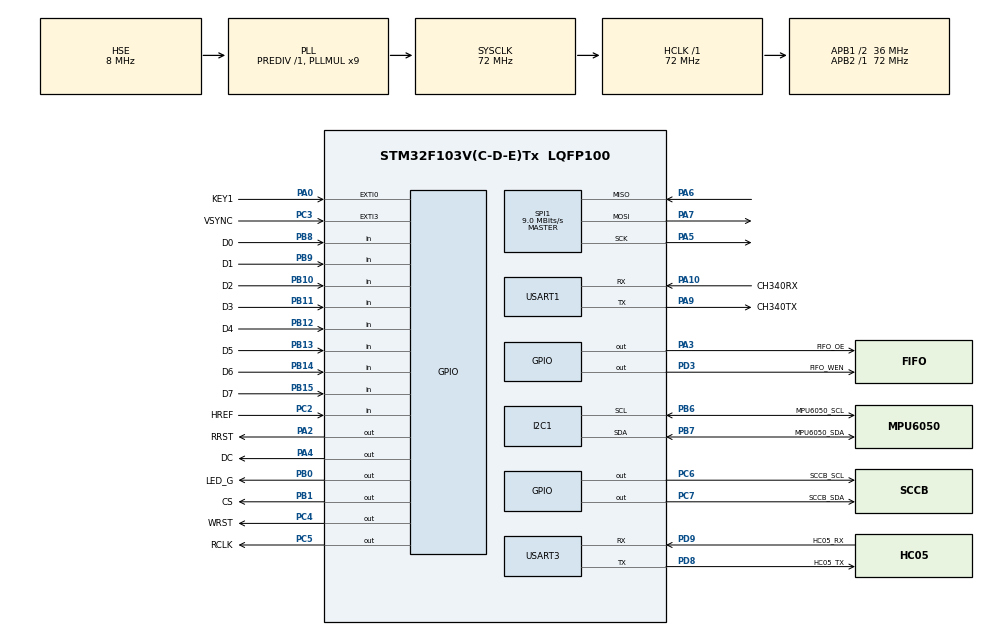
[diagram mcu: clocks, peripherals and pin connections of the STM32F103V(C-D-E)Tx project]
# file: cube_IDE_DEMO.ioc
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Dma.Request0=SPI1_TX
Dma.SPI1_TX.0.Direction=DMA_MEMORY_TO_PERIPH
Dma.SPI1_TX.0.Instance=DMA1_Channel3
Dma.SPI1_TX.0.MemDataAlignment=DMA_MDATAALIGN_BYTE
Dma.SPI1_TX.0.MemInc=DMA_MINC_ENABLE
Dma.SPI1_TX.0.Mode=DMA_NORMAL
Dma.SPI1_TX.0.PeriphDataAlignment=DMA_PDATAALIGN_BYTE
Dma.SPI1_TX.0.PeriphInc=DMA_PINC_DISABLE
Dma.SPI1_TX.0.Priority=DMA_PRIORITY_LOW
Mcu.Family=STM32F1
Mcu.Name=STM32F103V(C-D-E)Tx
Mcu.Package=LQFP100
NVIC.DMA1_Channel3_IRQn=true\:0\:0\:false\:false\:true\:false\:true\:true
NVIC.EXTI0_IRQn=true\:0\:0\:false\:false\:true\:true\:true\:true
NVIC.EXTI3_IRQn=true\:3\:0\:true\:false\:true\:true\:true\:true
NVIC.PriorityGroup=NVIC_PRIORITYGROUP_4
NVIC.USART1_IRQn=true\:1\:0\:true\:false\:true\:true\:true\:true
NVIC.USART3_IRQn=true\:0\:0\:false\:false\:true\:true\:true\:true
OSC_IN.Mode=HSE-External-Oscillator
OSC_IN.Signal=RCC_OSC_IN
OSC_OUT.Mode=HSE-External-Oscillator
OSC_OUT.Signal=RCC_OSC_OUT
PA0-WKUP.GPIO_Label=KEY1
PA0-WKUP.GPIO_ModeDefaultEXTI=GPIO_MODE_IT_RISING
PA0-WKUP.Signal=GPXTI0
PA10.GPIO_Label=CH340RX
PA10.Mode=Asynchronous
PA10.Signal=USART1_RX
PA13.Mode=JTAG_4_pins
PA13.Signal=SYS_JTMS-SWDIO
PA14.Mode=JTAG_4_pins
PA14.Signal=SYS_JTCK-SWCLK
PA15.Mode=JTAG_4_pins
PA15.Signal=SYS_JTDI
PA2.GPIO_Label=RRST
PA2.Signal=GPIO_Output
PA3.GPIO_Label=FIFO_OE
PA3.GPIO_ModeDefaultOutputPP=GPIO_MODE_OUTPUT_PP
PA3.Signal=GPIO_Output
PA4.GPIO_Label=DC
PA4.Signal=GPIO_Output
PA5.Mode=Full_Duplex_Master
PA5.Signal=SPI1_SCK
PA6.Mode=Full_Duplex_Master
PA6.Signal=SPI1_MISO
PA7.Mode=Full_Duplex_Master
PA7.Signal=SPI1_MOSI
PA9.GPIO_Label=CH340TX
PA9.Mode=Asynchronous
PA9.Signal=USART1_TX
PB0.GPIO_Label=LED_G
PB0.GPIO_Speed=GPIO_SPEED_FREQ_LOW
PB0.Signal=GPIO_Output
PB1.GPIO_Label=CS
PB1.Signal=GPIO_Output
PB10.GPIO_Label=D2
PB10.Signal=GPIO_Input
PB11.GPIO_Label=D3
PB11.Signal=GPIO_Input
PB12.GPIO_Label=D4
PB12.Signal=GPIO_Input
PB13.GPIO_Label=D5
PB13.Signal=GPIO_Input
PB14.GPIO_Label=D6
PB14.Signal=GPIO_Input
PB15.GPIO_Label=D7
PB15.Signal=GPIO_Input
PB3.Mode=JTAG_4_pins
PB3.Signal=SYS_JTDO-TRACESWO
PB6.GPIO_Label=MPU6050_SCL
PB6.Mode=I2C
PB6.Signal=I2C1_SCL
PB7.GPIO_Label=MPU6050_SDA
PB7.Mode=I2C
PB7.Signal=I2C1_SDA
PB8.GPIO_Label=D0
PB8.Signal=GPIO_Input
PB9.GPIO_Label=D1
PB9.Signal=GPIO_Input
PC2.GPIO_Label=HREF
PC2.Signal=GPIO_Input
PC3.GPIO_Label=VSYNC
PC3.GPIO_ModeDefaultEXTI=GPIO_MODE_IT_FALLING
PC3.GPIO_PuPd=GPIO_PULLDOWN
PC3.Signal=GPXTI3
PC4.GPIO_Label=WRST
PC4.Signal=GPIO_Output
PC5.GPIO_Label=RCLK
PC5.Signal=GPIO_Output
PC6.GPIO_Label=SCCB_SCL
PC6.GPIO_ModeDefaultOutputPP=GPIO_MODE_OUTPUT_OD
PC6.GPIO_PuPd=GPIO_NOPULL
PC6.Signal=GPIO_Output
PC7.GPIO_Label=SCCB_SDA
PC7.GPIO_ModeDefaultOutputPP=GPIO_MODE_OUTPUT_OD
PC7.GPIO_PuPd=GPIO_NOPULL
PC7.Signal=GPIO_Output
PD3.GPIO_Label=FIFO_WEN
PD3.Signal=GPIO_Output
PD8.GPIO_Label=HC05_TX
PD8.Mode=Asynchronous
PD8.Signal=USART3_TX
PD9.GPIO_Label=HC05_RX
PD9.Mode=Asynchronous
PD9.Signal=USART3_RX
ProjectManager.HeapSize=0x200
ProjectManager.StackSize=0x400
ProjectManager.TargetToolchain=STM32CubeIDE
RCC.AHBFreq_Value=72000000
RCC.APB1CLKDivider=RCC_HCLK_DIV2
RCC.APB1Freq_Value=36000000
RCC.APB1TimFreq_Value=72000000
RCC.APB2Freq_Value=72000000
RCC.APB2TimFreq_Value=72000000
RCC.HCLKFreq_Value=72000000
RCC.PLLMUL=RCC_PLL_MUL9
RCC.PLLSourceVirtual=RCC_PLLSOURCE_HSE
RCC.SYSCLKFreq_VALUE=72000000
RCC.SYSCLKSource=RCC_SYSCLKSOURCE_PLLCLK
RCC.USBFreq_Value=72000000
SPI1.BaudRatePrescaler=SPI_BAUDRATEPRESCALER_8
SPI1.CLKPhase=SPI_PHASE_1EDGE
SPI1.CLKPolarity=SPI_POLARITY_LOW
SPI1.CalculateBaudRate=9.0 MBits/s
SPI1.Direction=SPI_DIRECTION_2LINES
SPI1.Mode=SPI_MODE_MASTER
SPI1.VirtualType=VM_MASTER
USART1.VirtualMode=VM_ASYNC
USART3.VirtualMode=VM_ASYNC
board=custom

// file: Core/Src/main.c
/* USER CODE BEGIN Header */
/**
  ******************************************************************************
  * @file           : main.c
  * @brief          : Main program body
  ******************************************************************************
  * @attention
  *
  * Copyright (c) 2024 STMicroelectronics.
  * All rights reserved.
  *
  * This software is licensed under terms that can be found in the LICENSE file
  * in the root directory of this software component.
  * If no LICENSE file comes with this software, it is provided AS-IS.
  *
  ******************************************************************************
  */
/* USER CODE END Header */
#include "main.h"
#include "dma.h"
#include "i2c.h"
#include "spi.h"
#include "usart.h"
#include "gpio.h"

/* USER CODE BEGIN Includes */
#include "stdio.h"
#include "oled.h"
#include "bsp_ov7725.h"

/* USER CODE END Includes */

/* USER CODE BEGIN PV */
uint8_t Ov7725_vsync = OV7725_RC_idle;
volatile uint8_t frame_count = 0;
uint16_t delay_count=0;
unsigned char oled_page = 0;
uint8_t oled_mode;
char buffer[50];
extern unsigned char BMP1[];
extern unsigned char Mario_60[];
extern unsigned char Mario_120[];
extern unsigned char F8X16[][16];
extern unsigned char F6x8[][6];
/* USER CODE END PV */

void SystemClock_Config(void);

/* USER CODE BEGIN 0 */
//  void HAL_GPIO_EXTI_Callback(uint16_t GPIO_Pin)
//  {
//      HAL_GPIO_TogglePin(GPIOB, GPIO_Pin);
//  }
/* USER CODE END 0 */

int main(void)
{

  /* USER CODE BEGIN 1 */

	uint8_t retry = 0;

  /* USER CODE END 1 */

  /* MCU Configuration--------------------------------------------------------*/

  /* Reset of all peripherals, Initializes the Flash interface and the Systick. */
  HAL_Init();

  /* Configure the system clock */
  SystemClock_Config();

  /* Initialize all configured peripherals */
  MX_GPIO_Init();
  MX_DMA_Init();
  MX_USART1_UART_Init();
  MX_SPI1_Init();
  MX_I2C1_Init();
  MX_USART3_UART_Init();
  /* USER CODE BEGIN 2 */
  FIFO_OE_L();
  FIFO_WE_H();

  OLED_Init();
  send_debug_info("oled_init done!");
  OLED_Fill(0x00);

  while(OV7725_Init() != SUCCESS)
	{
		retry++;
		if(retry>5)
		{
			send_debug_info("ov7725 init failed");
			while(1);
		}
	}
  send_debug_info("ov init success");

  OV7725_Window_Set(ov7725.X_Start,ov7725.Y_Start,ov7725.Width,ov7725.Height,ov7725.VGA_QVGA);
  Ov7725_vsync = 0;

  /* USER CODE END 2 */

  /* Infinite loop */
  /* USER CODE BEGIN WHILE */
   while (1)
   {

			if( Ov7725_vsync == OV7725_RC_done )
			{

				frame_count++;
				FIFO_PREPARE;
				Img_Read(Img);
				Img_Process(Img, Img1);
				OLED_Print_pixel_Image(Img1,64,128);

				Ov7725_vsync = OV7725_RC_idle;
			}
   }
    /* USER CODE END WHILE */

    /* USER CODE BEGIN 3 */
  // }
  /* USER CODE END 3 */
}

void SystemClock_Config(void)
{
  RCC_OscInitTypeDef RCC_OscInitStruct = {0};
  RCC_ClkInitTypeDef RCC_ClkInitStruct = {0};

  /** Initializes the RCC Oscillators according to the specified parameters
  * in the RCC_OscInitTypeDef structure.
  */
  RCC_OscInitStruct.OscillatorType = RCC_OSCILLATORTYPE_HSE;
  RCC_OscInitStruct.HSEState = RCC_HSE_ON;
  RCC_OscInitStruct.HSEPredivValue = RCC_HSE_PREDIV_DIV1;
  RCC_OscInitStruct.HSIState = RCC_HSI_ON;
  RCC_OscInitStruct.PLL.PLLState = RCC_PLL_ON;
  RCC_OscInitStruct.PLL.PLLSource = RCC_PLLSOURCE_HSE;
  RCC_OscInitStruct.PLL.PLLMUL = RCC_PLL_MUL9;
  if (HAL_RCC_OscConfig(&RCC_OscInitStruct) != HAL_OK)
  {
    Error_Handler();
  }

  /** Initializes the CPU, AHB and APB buses clocks
  */
  RCC_ClkInitStruct.ClockType = RCC_CLOCKTYPE_HCLK|RCC_CLOCKTYPE_SYSCLK
                              |RCC_CLOCKTYPE_PCLK1|RCC_CLOCKTYPE_PCLK2;
  RCC_ClkInitStruct.SYSCLKSource = RCC_SYSCLKSOURCE_PLLCLK;
  RCC_ClkInitStruct.AHBCLKDivider = RCC_SYSCLK_DIV1;
  RCC_ClkInitStruct.APB1CLKDivider = RCC_HCLK_DIV2;
  RCC_ClkInitStruct.APB2CLKDivider = RCC_HCLK_DIV1;

  if (HAL_RCC_ClockConfig(&RCC_ClkInitStruct, FLASH_LATENCY_2) != HAL_OK)
  {
    Error_Handler();
  }
}

/* USER CODE BEGIN 4 */
void Delay(uint32_t count)
{
	for(int i = 0;i < count; i++);
}

void Delay_tick(uint32_t ms)
{
    uint32_t start;

    start = uwTick; //log the start value of systick

    while(uwTick - start <ms) //wait until  x ms
    {

    }
}

void HAL_GPIO_EXTI_Callback(uint16_t GPIO_Pin)
{
  if(GPIO_Pin ==KEY1_Pin)
  {
    oled_page++;
    oled_mode = oled_page % 3;
    if (oled_mode == 1)
    {
      OLED_Fill(0x00);
      Draw_BMP(60, 0, 60, 80, (unsigned char *)Mario_60);
      OLED_Showchar(0, 0, 'K', Size_F8x16);
    }
    else if (oled_mode == 2)
    {
      OLED_Fill(0x00);
      Draw_BMP(0, 0, 120, 80, (unsigned char *)Mario_120);
    }
    else
    {
      OLED_Fill(0x00);
      OLED_Showchar(0, 0, 'L', Size_F8x16);
    }
  }
  else if(GPIO_Pin ==VSYNC_Pin)
  {

    if (Ov7725_vsync == OV7725_RC_idle)
    {
      FIFO_WRST_L(); //reset the fifo write pointer
      FIFO_WE_H();   //enable ov7725  transfer img to fifo

      Ov7725_vsync = OV7725_RC_busy;
      FIFO_WRST_H(); //avoid the write pointer keepping reset
    }
    else if (Ov7725_vsync == OV7725_RC_busy) // a  full frame is cached in FIFO
    {
      FIFO_WE_L(); // disable the ov7725 transfer
      Ov7725_vsync = OV7725_RC_done;
    }
  }
  else
  {
      //unused
  }
}

/* USER CODE END 4 */

void Error_Handler(void)
{
  __disable_irq();
  while (1)
  {
  }
}
